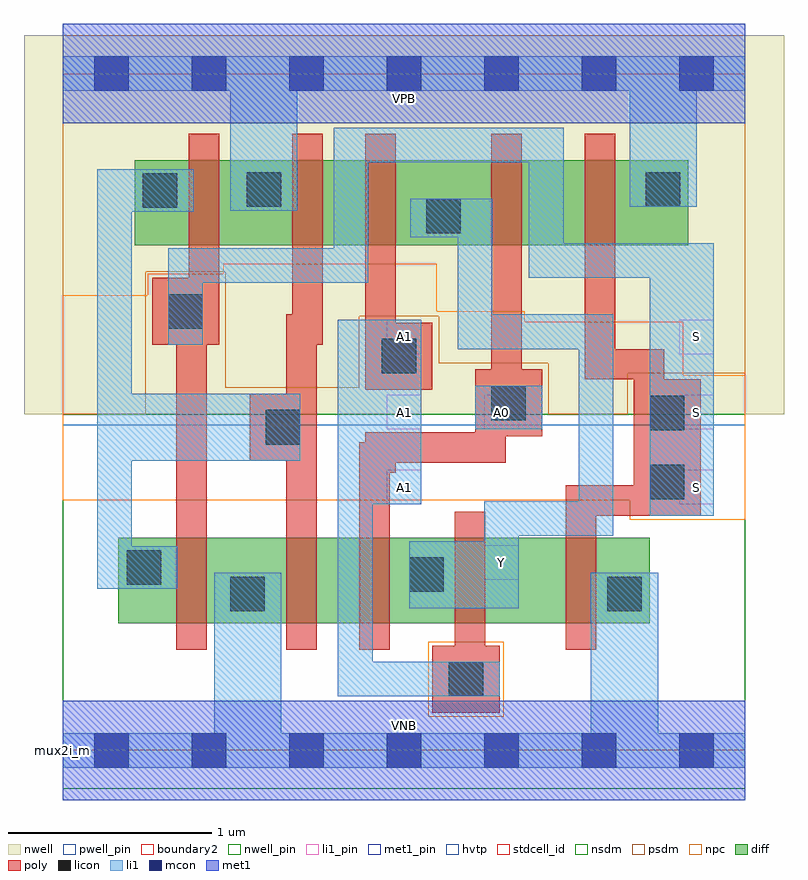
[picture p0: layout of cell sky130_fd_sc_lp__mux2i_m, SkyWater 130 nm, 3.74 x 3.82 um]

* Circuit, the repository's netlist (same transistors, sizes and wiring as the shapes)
* Copyright 2020 The SkyWater PDK Authors
*
* Licensed under the Apache License, Version 2.0 (the "License");
* you may not use this file except in compliance with the License.
* You may obtain a copy of the License at
*
*     https://www.apache.org/licenses/LICENSE-2.0
*
* Unless required by applicable law or agreed to in writing, software
* distributed under the License is distributed on an "AS IS" BASIS,
* WITHOUT WARRANTIES OR CONDITIONS OF ANY KIND, either express or implied.
* See the License for the specific language governing permissions and
* limitations under the License.
*
* SPDX-License-Identifier: Apache-2.0

.SUBCKT sky130_fd_sc_lp__mux2i_m A0 A1 S VGND VNB VPB VPWR Y
*.PININFO A0:I A1:I S:I VGND:I VNB:I VPB:I VPWR:I Y:O
MMNA00 Y A0 smdNA0 VNB sky130_fd_pr__nfet_01v8 m=1 w=0.42U l=0.15U mult=1 sa=0.265
+ sb=0.265 sd=0.28 area=0.063 perim=1.14
MMNA01 smdNA0 Sb VGND VNB sky130_fd_pr__nfet_01v8 m=1 w=0.42U l=0.15U mult=1 sa=0.265
+ sb=0.265 sd=0.28 area=0.063 perim=1.14
MMNA10 Y A1 sndNA1 VNB sky130_fd_pr__nfet_01v8 m=1 w=0.42U l=0.15U mult=1 sa=0.265
+ sb=0.265 sd=0.28 area=0.063 perim=1.14
MMNA11 sndNA1 S VGND VNB sky130_fd_pr__nfet_01v8 m=1 w=0.42U l=0.15U mult=1 sa=0.265
+ sb=0.265 sd=0.28 area=0.063 perim=1.14
MMIN1 Sb S VGND VNB sky130_fd_pr__nfet_01v8 m=1 w=0.42U l=0.15U mult=1 sa=0.265
+ sb=0.265 sd=0.28 area=0.063 perim=1.14
MMPA00 VPWR S sndPS VPB sky130_fd_pr__pfet_01v8_hvt m=1 w=0.42U l=0.15U mult=1
+ sa=0.265 sb=0.265 sd=0.28 area=0.063 perim=1.14
MMPA01 sndPS A0 Y VPB sky130_fd_pr__pfet_01v8_hvt m=1 w=0.42U l=0.15U mult=1 sa=0.265
+ sb=0.265 sd=0.28 area=0.063 perim=1.14
MMPA10 VPWR Sb sndPSb VPB sky130_fd_pr__pfet_01v8_hvt m=1 w=0.42U l=0.15U mult=1
+ sa=0.265 sb=0.265 sd=0.28 area=0.063 perim=1.14
MMPA11 sndPSb A1 Y VPB sky130_fd_pr__pfet_01v8_hvt m=1 w=0.42U l=0.15U mult=1 sa=0.265
+ sb=0.265 sd=0.28 area=0.063 perim=1.14
MMIP1 Sb S VPWR VPB sky130_fd_pr__pfet_01v8_hvt m=1 w=0.42U l=0.15U mult=1 sa=0.265
+ sb=0.265 sd=0.28 area=0.063 perim=1.14
.ENDS sky130_fd_sc_lp__mux2i_m

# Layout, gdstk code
import gdstk
lib = gdstk.Library(unit=1e-6, precision=1e-09)
def R(c, l, rs):  # rectangles x0, y0, x1, y1
    for r in rs: c.add(gdstk.rectangle(r[:2], r[2:], *l))
def A(c, l, x, y, w, h, nx, ny, dx, dy):  # array of equal rectangles
    R(c, l, [(x+i*dx, y+j*dy, x+i*dx+w, y+j*dy+h) for i in range(nx) for j in range(ny)])
def P(c, l, *ps):  # polygons
    for p in ps: c.add(gdstk.Polygon(p, *l))
nwell_pin = (64, 16)
nwell = (64, 20)
diff = (65, 20)
poly = (66, 20)
licon = (66, 44)
li1_pin = (67, 16)
li1 = (67, 20)
mcon = (67, 44)
met1_pin = (68, 16)
met1 = (68, 20)
hvtp = (78, 44)
stdcell_id = (81, 4)
nsdm = (93, 44)
psdm = (94, 20)
npc = (95, 20)
pwell_pin = (122, 16)
boundary2 = (236, 0)

sky130_fd_sc_lp__mux2i_m = lib.new_cell('sky130_fd_sc_lp__mux2i_m')
R(sky130_fd_sc_lp__mux2i_m, nwell_pin, [(0,3.085,3.36,3.33)])
R(sky130_fd_sc_lp__mux2i_m, nwell, [(-0.19,1.655,3.55,3.52)])
R(sky130_fd_sc_lp__mux2i_m, diff, [(0.275,0.625,2.89,1.045), (0.355,2.485,3.08,2.905)])
P(sky130_fd_sc_lp__mux2i_m, poly, [(0.77,3.035),(0.62,3.035),(0.62,2.325),(0.44,2.325),(0.44,1.995),(0.56,1.995),(0.56,0.495),(0.71,0.495),(0.71,1.995),(0.77,1.995)],
  [(1.28,3.035),(1.13,3.035),(1.13,2.145),(1.1,2.145),(1.1,1.755),(0.92,1.755),(0.92,1.425),(1.1,1.425),(1.1,0.495),(1.25,0.495),(1.25,1.995),(1.28,1.995)],
  [(1.82,2.105),(1.64,2.105),(1.64,3.035),(1.49,3.035),(1.49,1.775),(1.82,1.775)],
  [(2.15,0.515),(2.08,0.515),(2.08,1.175),(1.93,1.175),(1.93,0.515),(1.82,0.515),(1.82,0.185),(2.15,0.185)],
  [(2.36,1.875),(2.26,1.875),(2.26,3.035),(2.11,3.035),(2.11,1.875),(2.03,1.875),(2.03,1.565),(1.49,1.565),(1.49,1.515),(1.46,1.515),(1.46,0.495),(1.61,0.495),(1.61,1.365),(1.64,1.365),(1.64,1.415),(2.18,1.415),(2.18,1.545),(2.36,1.545)],
  [(3.14,1.825),(2.96,1.825),(2.96,1.975),(2.72,1.975),(2.72,3.035),(2.57,3.035),(2.57,1.825),(2.81,1.825),(2.81,1.305),(2.475,1.305),(2.475,0.495),(2.625,0.495),(2.625,1.155),(3.14,1.155)])
R(sky130_fd_sc_lp__mux2i_m, licon, [(1.9,0.265,2.07,0.435), (0.825,0.685,0.995,0.855), (2.68,0.685,2.85,0.855), (1.705,0.78,1.875,0.95), (0.315,0.815,0.485,0.985), (2.89,1.235,3.06,1.405), (1,1.505,1.17,1.675), (2.89,1.575,3.06,1.745), (2.11,1.625,2.28,1.795), (1.57,1.855,1.74,2.025), (0.52,2.075,0.69,2.245), (1.79,2.545,1.96,2.715), (0.395,2.67,0.565,2.84), (0.905,2.675,1.075,2.845), (2.87,2.675,3.04,2.845)])
A(sky130_fd_sc_lp__mux2i_m, li1_pin, 1.595, 1.21, 0.17, 0.17, 1, 3, 0, 0.37)
A(sky130_fd_sc_lp__mux2i_m, li1_pin, 3.035, 1.21, 0.17, 0.17, 1, 3, 0, 0.37)
R(sky130_fd_sc_lp__mux2i_m, li1_pin, [(2.075,0.84,2.245,1.01), (2.075,1.58,2.245,1.75)])
R(sky130_fd_sc_lp__mux2i_m, li1, [(2.03,1.58,2.36,1.795)])
P(sky130_fd_sc_lp__mux2i_m, li1, [(2.79,2.675),(2.79,3.245),(1.155,3.245),(1.155,2.655),(0.825,2.655),(0.825,3.245),(0,3.245),(0,3.415),(3.36,3.415),(3.36,3.245),(3.12,3.245),(3.12,2.675)],
  [(2.6,0.085),(2.6,0.875),(2.93,0.875),(2.93,0.085),(3.36,0.085),(3.36,-0.085),(0,-0.085),(0,0.085),(0.745,0.085),(0.745,0.875),(1.075,0.875),(1.075,0.085)],
  [(1.505,2.3),(0.69,2.3),(0.69,1.995),(0.52,1.995),(0.52,2.47),(1.335,2.47),(1.335,3.065),(2.465,3.065),(2.465,2.495),(3.205,2.495),(3.205,1.155),(2.89,1.155),(2.89,2.325),(2.295,2.325),(2.295,2.895),(1.505,2.895)],
  [(0.34,2.65),(0.34,1.755),(1.17,1.755),(1.17,1.425),(0.34,1.425),(0.34,1.005),(0.565,1.005),(0.565,0.795),(0.17,0.795),(0.17,2.86),(0.645,2.86),(0.645,2.65)],
  [(2.115,2.145),(2.71,2.145),(2.71,1.055),(2.245,1.055),(2.245,0.7),(1.705,0.7),(1.705,1.03),(2.075,1.03),(2.075,1.225),(2.54,1.225),(2.54,1.975),(1.945,1.975),(1.945,2.525),(1.71,2.525),(1.71,2.715),(2.115,2.715)],
  [(1.525,0.435),(2.15,0.435),(2.15,0.265),(1.355,0.265),(1.355,2.12),(1.765,2.12),(1.765,1.21),(1.525,1.21)])
A(sky130_fd_sc_lp__mux2i_m, mcon, 0.155, -0.085, 0.17, 0.17, 7, 2, 0.48, 3.33)
R(sky130_fd_sc_lp__mux2i_m, met1_pin, [(0,0,3.36,0.245), (0,3.085,3.36,3.33)])
R(sky130_fd_sc_lp__mux2i_m, met1, [(0,-0.245,3.36,0.245), (0,3.085,3.36,3.575)])
R(sky130_fd_sc_lp__mux2i_m, hvtp, [(0,1.6,3.36,3.33)])
R(sky130_fd_sc_lp__mux2i_m, stdcell_id, [(0,0,3.36,3.33)])
R(sky130_fd_sc_lp__mux2i_m, nsdm, [(0,-0.19,3.36,1.655)])
P(sky130_fd_sc_lp__mux2i_m, psdm, [(3.36,3.52),(0,3.52),(0,1.655),(0.41,1.655),(0.41,2.355),(0.8,2.355),(0.8,1.785),(1.46,1.785),(1.46,2.135),(1.85,2.135),(1.85,1.905),(2.39,1.905),(2.39,1.655),(2.78,1.655),(2.78,1.855),(3.36,1.855)])
R(sky130_fd_sc_lp__mux2i_m, npc, [(1.8,0.165,2.17,0.535)])
P(sky130_fd_sc_lp__mux2i_m, npc, [(3.36,1.845),(3.055,1.845),(3.055,2.11),(2.275,2.11),(2.275,2.16),(1.84,2.16),(1.84,2.395),(0.79,2.395),(0.79,2.345),(0.42,2.345),(0.42,2.24),(0,2.24),(0,1.23),(2.79,1.23),(2.79,1.135),(3.36,1.135)])
R(sky130_fd_sc_lp__mux2i_m, pwell_pin, [(0,0,3.36,0.245)])
R(sky130_fd_sc_lp__mux2i_m, boundary2, [(0,0,3.36,3.33)])
sky130_fd_sc_lp__mux2i_m.add(gdstk.Label('VNB', (1.68,0.123), layer=64, texttype=59))
sky130_fd_sc_lp__mux2i_m.add(gdstk.Label('VPB', (1.68,3.208), layer=64, texttype=5))
sky130_fd_sc_lp__mux2i_m.add(gdstk.Label('mux2i_m', (0,0), layer=83, texttype=44))
sky130_fd_sc_lp__mux2i_m.add(gdstk.Label('VPWR', (1.68,3.208), layer=68, texttype=5))
sky130_fd_sc_lp__mux2i_m.add(gdstk.Label('VGND', (1.68,0.123), layer=68, texttype=5))
sky130_fd_sc_lp__mux2i_m.add(gdstk.Label('A0', (2.16,1.665), layer=67, texttype=5))
sky130_fd_sc_lp__mux2i_m.add(gdstk.Label('S', (3.12,1.295), layer=67, texttype=5))
sky130_fd_sc_lp__mux2i_m.add(gdstk.Label('S', (3.12,1.665), layer=67, texttype=5))
sky130_fd_sc_lp__mux2i_m.add(gdstk.Label('S', (3.12,2.035), layer=67, texttype=5))
sky130_fd_sc_lp__mux2i_m.add(gdstk.Label('Y', (2.16,0.925), layer=67, texttype=5))
sky130_fd_sc_lp__mux2i_m.add(gdstk.Label('A1', (1.68,1.295), layer=67, texttype=5))
sky130_fd_sc_lp__mux2i_m.add(gdstk.Label('A1', (1.68,1.665), layer=67, texttype=5))
sky130_fd_sc_lp__mux2i_m.add(gdstk.Label('A1', (1.68,2.035), layer=67, texttype=5))

lib.write_gds('sky130_fd_sc_lp__mux2i_m.gds')
